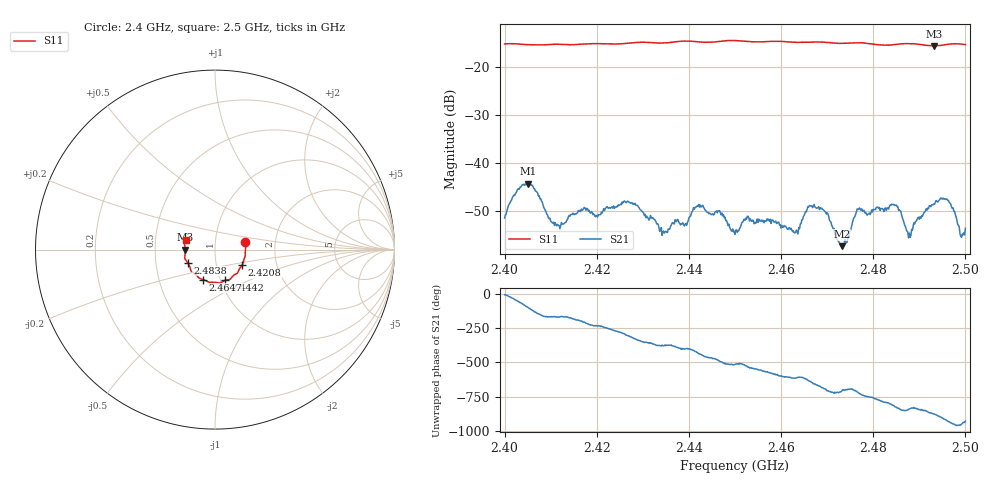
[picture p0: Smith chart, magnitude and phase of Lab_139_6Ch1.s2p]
# Hz S RI R 50
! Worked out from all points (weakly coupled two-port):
!   601 points, 2.4 GHz to 2.5 GHz, reference 50 ohm
!   highest |S21| = -44.31 dB at 2.4052 GHz (marker M1); lowest = -57.4 dB at 2.4732 GHz (marker M2)
!   lowest |S11| = -15.6 dB at 2.4932 GHz (marker M3), VSWR 1.40, Z = 35.8 - j0.0842 ohm
!   |S11| at or under -10 dB: start of sweep to end of sweep
!   S12 and S22 are empty: the file has one direction only
!   S11 on the Smith chart (normalised r, x): 2.4 GHz: 1.40, +0.12; 2.4208 GHz: 1.33, -0.24; 2.4442 GHz: 1.05, -0.37; 2.4647 GHz: 0.83, -0.29; 2.4838 GHz: 0.73, -0.11; 2.5 GHz: 0.72, +0.08
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2.4e9  0.1682 0.0408  0.00264 -0.000315  0 0  0 0
2.405167e9  0.1702 0.00776  -0.00137 -0.00593  0 0  0 0
2.411667e9  0.1681 -0.0369  -0.00219 -0.000442  0 0  0 0
2.416667e9  0.1585 -0.0683  -0.00313 0.00102  0 0  0 0
2.420833e9  0.151 -0.0874  -0.00151 0.00246  0 0  0 0
2.427167e9  0.1301 -0.1203  0.0026 0.00286  0 0  0 0
2.433333e9  0.1079 -0.1401  0.00217 -0.000723  0 0  0 0
2.444167e9  0.0568 -0.1711  -0.000728 -0.00294  0 0  0 0
2.45e9  0.0243 -0.1866  -0.00162 -0.000771  0 0  0 0
2.4525e9  0.0126 -0.1842  -0.00251 -0.000625  0 0  0 0
2.463167e9  -0.0554 -0.1716  -0.000487 0.00182  0 0  0 0
2.464667e9  -0.0673 -0.1669  -0.000849 0.00241  0 0  0 0
2.466667e9  -0.0802 -0.1625  0.00103 0.00341  0 0  0 0
2.469833e9  -0.0929 -0.1544  0.00279 0.000865  0 0  0 0
2.473167e9  -0.1091 -0.1381  0.00133 0.000228  0 0  0 0
2.476667e9  -0.1307 -0.1212  0.00328 4.48e-05  0 0  0 0
2.483333e9  -0.1503 -0.0761  0.000752 -0.00321  0 0  0 0
2.483833e9  -0.1531 -0.0719  0.000293 -0.00358  0 0  0 0
2.487667e9  -0.1678 -0.0492  -0.000889 -0.00139  0 0  0 0
2.493167e9  -0.1657 -0.00114  -0.00345 -0.00146  0 0  0 0
2.496167e9  -0.1698 0.027  -0.00351 0.00203  0 0  0 0
2.5e9  -0.1627 0.0525  -0.00181 0.00102  0 0  0 0
